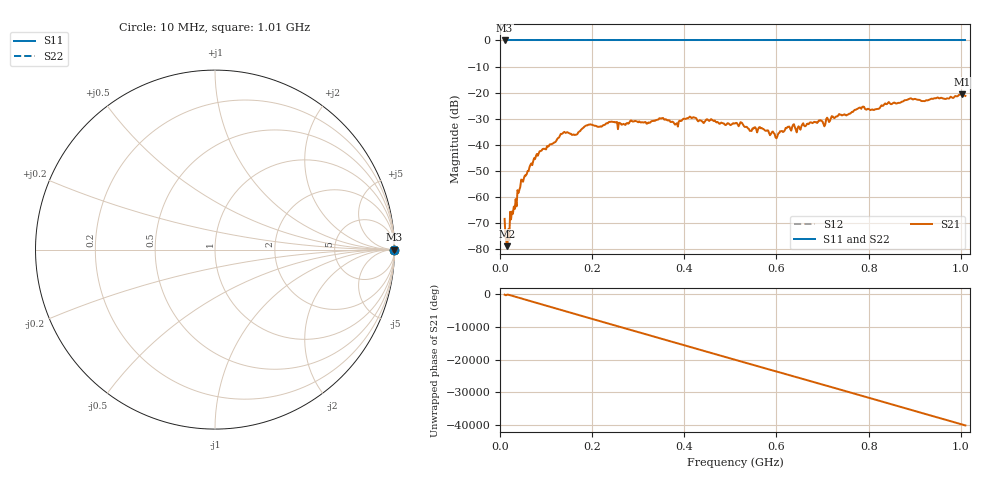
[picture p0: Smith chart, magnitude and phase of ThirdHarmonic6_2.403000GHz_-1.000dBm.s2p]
! 8/17/2025 3:58:49 AM
! C:\ANRITSUVNA\TEMP\TEMP.S2P
! CHANNEL.1
! TR.MEASUREMENT
! RAW.DATA
! RF.CORRECTION.OFF
! AVERAGING.OFF
! IF.BANDWIDTH: 5KHZ
! SWEEPTYPE:  FREQ.SWEEP(Linear)
! Reference Plane Port Info
! PORT:  PORT1  PORT2
! DISTANCE:  0  m  0  m
! TIME:  0  s  0  s
! PHASE.OFFSET:  0  deg.  0  deg.
! LOSS:  0  dB  0  dB
! REF.LOSS:  0  dB  0  dB
! REF.FREQ:  0  Hz  0  Hz
! Power Info
! POWER:  -20  dBm  -20  dBm
! EFF.POWER:  -20  dBm  -20  dBm
! SOURCE.ATTEN:  0  dB  0  dB
! TEST.ATTEN:  0  dB  0  dB
# GHZ S RI R 50.0
! FREQ.GHZ  S11RE  S11IM  S21RE  S21IM  S12RE  S12IM  S22RE  S22IM
!; PortSelection: Port_12
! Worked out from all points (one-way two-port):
!   501 points, 10 MHz to 1.01 GHz, reference 50 ohm
!   highest |S21| = -20.70 dB at 1.002 GHz (marker M1); lowest = -79.0 dB at 16 MHz (marker M2)
!   lowest |S11| = 0.0 dB at 10 MHz (marker M3)
!   |S11| at or under -10 dB: nowhere
!   |S22| runs from 0.0 to 0.0 dB; largest |S21 - S12| = 1.1
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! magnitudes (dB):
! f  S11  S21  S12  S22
! 10 MHz  0.0  -68.5  0.0  0.0
! 16 MHz  0.0  -79.0  0.0  0.0
! 26 MHz  0.0  -65.7  0.0  0.0
! 42 MHz  0.0  -57.3  0.0  0.0
! 76 MHz  0.0  -45.6  0.0  0.0
! 136 MHz  0.0  -35.7  0.0  0.0
! 164 MHz  0.0  -36.2  0.0  0.0
! 178 MHz  0.0  -33.9  0.0  0.0
! 344 MHz  0.0  -30.3  0.0  0.0
! 382 MHz  0.0  -32.0  0.0  0.0
! 416 MHz  0.0  -29.8  0.0  0.0
! 510 MHz  0.0  -31.9  0.0  0.0
! 600 MHz  0.0  -37.6  0.0  0.0
! 624 MHz  0.0  -33.2  0.0  0.0
! 648 MHz  0.0  -32.9  0.0  0.0
! 678 MHz  0.0  -31.7  0.0  0.0
! 702 MHz  0.0  -32.0  0.0  0.0
! 778 MHz  0.0  -26.0  0.0  0.0
! 814 MHz  0.0  -26.4  0.0  0.0
! 844 MHz  0.0  -23.6  0.0  0.0
! 1.002 GHz  0.0  -20.7  0.0  0.0
! 1.01 GHz  0.0  -21.3  0.0  0.0
